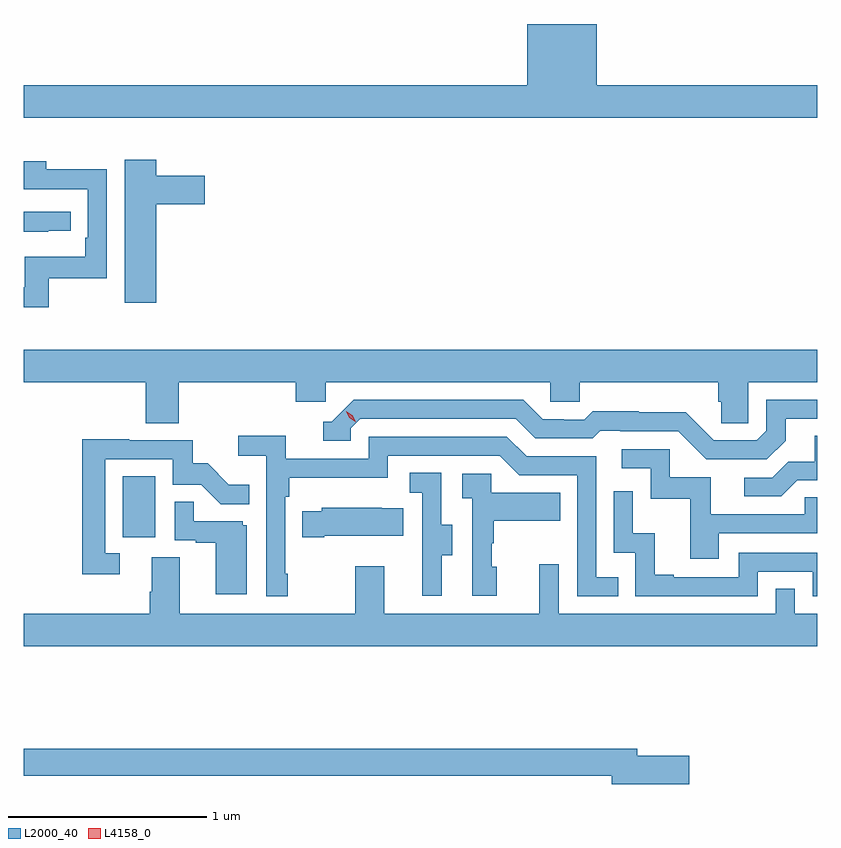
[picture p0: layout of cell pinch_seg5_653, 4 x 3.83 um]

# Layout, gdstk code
import gdstk
lib = gdstk.Library(unit=1e-6, precision=1e-09)
def R(c, l, rs):  # rectangles x0, y0, x1, y1
    for r in rs: c.add(gdstk.rectangle(r[:2], r[2:], *l))
def P(c, l, *ps):  # polygons
    for p in ps: c.add(gdstk.Polygon(p, *l))
L2000_40 = (2000, 40)
L4158_0 = (4158, 0)

pinch_seg5_653 = lib.new_cell('pinch_seg5_653')
R(pinch_seg5_653, L2000_40, [(1066.64,846.654,1066.804,846.961)])
P(pinch_seg5_653, L2000_40, [(1070.141,848.932),(1069.03,848.932),(1069.03,849.241),(1068.68,849.241),(1068.68,848.932),(1066.141,848.932),(1066.141,848.768),(1070.141,848.768)],
  [(1066.81,848.333),(1067.053,848.333),(1067.053,848.475),(1066.81,848.475),(1066.81,848.557),(1066.649,848.557),(1066.649,847.836),(1066.81,847.836)],
  [(1066.267,847.959),(1066.56,847.959),(1066.56,848.51),(1066.255,848.51),(1066.255,848.548),(1066.141,848.548),(1066.141,848.408),(1066.151,848.408),(1066.151,848.409),(1066.464,848.409),(1066.464,848.164),(1066.451,848.164),(1066.451,848.068),(1066.146,848.068),(1066.146,847.913),(1066.141,847.913),(1066.141,847.812),(1066.267,847.812)],
  [(1066.265,848.199),(1066.378,848.199),(1066.378,848.295),(1066.141,848.295),(1066.141,848.194),(1066.265,848.194)],
  [(1066.922,847.436),(1067.513,847.436),(1067.513,847.338),(1067.664,847.338),(1067.664,847.436),(1068.795,847.436),(1068.795,847.338),(1068.945,847.338),(1068.945,847.436),(1069.643,847.436),(1069.643,847.338),(1069.657,847.338),(1069.657,847.228),(1069.794,847.228),(1069.794,847.436),(1070.141,847.436),(1070.141,847.6),(1066.141,847.6),(1066.141,847.436),(1066.757,847.436),(1066.757,847.228),(1066.922,847.228)],
  [(1069.981,847.141),(1069.981,847.251),(1070.141,847.251),(1070.141,847.347),(1069.884,847.347),(1069.884,847.191),(1069.836,847.143),(1069.62,847.143),(1069.478,847.285),(1069.242,847.285),(1069.242,847.288),(1069.009,847.288),(1068.967,847.245),(1068.864,847.245),(1068.864,847.248),(1068.757,847.248),(1068.658,847.347),(1067.805,847.347),(1067.694,847.236),(1067.651,847.236),(1067.651,847.14),(1067.79,847.14),(1067.79,847.203),(1067.838,847.251),(1068.621,847.251),(1068.72,847.152),(1069.009,847.152),(1069.048,847.191),(1069.147,847.191),(1069.147,847.188),(1069.44,847.188),(1069.581,847.047),(1069.887,847.047)],
  [(1070.041,846.942),(1070.141,846.942),(1070.141,847.166),(1070.129,847.166),(1070.129,847.034),(1069.994,847.034),(1069.914,846.954),(1069.773,846.954),(1069.773,846.861),(1069.96,846.861)],
  [(1067.473,846.469),(1067.46,846.469),(1067.46,846.857),(1067.48,846.857),(1067.48,846.953),(1067.976,846.953),(1067.976,847.065),(1068.54,847.065),(1068.639,846.966),(1068.93,846.966),(1068.93,846.357),(1069.139,846.357),(1069.139,846.453),(1069.026,846.453),(1069.026,847.062),(1068.676,847.062),(1068.577,847.161),(1067.88,847.161),(1067.88,847.05),(1067.462,847.05),(1067.462,847.166),(1067.223,847.166),(1067.223,847.064),(1067.364,847.064),(1067.364,846.357),(1067.473,846.357)],
  [(1066.624,846.573),(1066.551,846.573),(1066.551,847.047),(1066.893,847.047),(1066.893,846.918),(1067.037,846.918),(1067.135,846.82),(1067.279,846.82),(1067.279,846.919),(1067.175,846.919),(1067.068,847.026),(1066.992,847.026),(1066.992,847.143),(1066.673,847.143),(1066.673,847.148),(1066.435,847.148),(1066.435,846.468),(1066.624,846.468)],
  [(1069.645,846.675),(1070.141,846.675),(1070.141,846.855),(1070.077,846.855),(1070.077,846.771),(1069.603,846.771),(1069.603,846.957),(1069.398,846.957),(1069.398,847.098),(1069.155,847.098),(1069.155,847.002),(1069.302,847.002),(1069.302,846.849),(1069.501,846.849),(1069.501,846.546),(1069.645,846.546)],
  [(1068.247,846.562),(1068.301,846.562),(1068.301,846.717),(1068.246,846.717),(1068.246,846.98),(1068.087,846.98),(1068.087,846.877),(1068.15,846.877),(1068.15,846.573),(1068.149,846.573),(1068.149,846.36),(1068.247,846.36)],
  [(1068.526,846.504),(1068.501,846.504),(1068.501,846.623),(1068.511,846.623),(1068.511,846.737),(1068.845,846.737),(1068.845,846.877),(1068.498,846.877),(1068.498,846.975),(1068.351,846.975),(1068.351,846.851),(1068.402,846.851),(1068.402,846.36),(1068.526,846.36)],
  [(1069.842,846.48),(1070.118,846.48),(1070.118,846.357),(1070.141,846.357),(1070.141,846.576),(1069.746,846.576),(1069.746,846.453),(1069.417,846.453),(1069.417,846.466),(1069.322,846.466),(1069.322,846.674),(1069.212,846.674),(1069.212,846.886),(1069.116,846.886),(1069.116,846.576),(1069.224,846.576),(1069.224,846.357),(1069.842,846.357)],
  [(1067.266,846.714),(1067.244,846.714),(1067.244,846.735),(1066.997,846.735),(1066.997,846.833),(1066.902,846.833),(1066.902,846.639),(1067.009,846.639),(1067.009,846.627),(1067.108,846.627),(1067.108,846.366),(1067.266,846.366)],
  [(1067.656,846.662),(1068.053,846.662),(1068.053,846.799),(1067.945,846.799),(1067.945,846.802),(1067.643,846.802),(1067.643,846.784),(1067.545,846.784),(1067.545,846.655),(1067.656,846.655)],
  [(1066.787,846.554),(1066.787,846.38),(1066.775,846.38),(1066.775,846.268),(1066.141,846.268),(1066.141,846.104),(1070.141,846.104),(1070.141,846.268),(1070.028,846.268),(1070.028,846.395),(1069.932,846.395),(1069.932,846.268),(1068.837,846.268),(1068.837,846.517),(1068.74,846.517),(1068.74,846.268),(1067.959,846.268),(1067.959,846.508),(1067.812,846.508),(1067.812,846.268),(1066.927,846.268),(1066.927,846.554)],
  [(1069.495,845.552),(1069.234,845.552),(1069.234,845.588),(1066.141,845.588),(1066.141,845.452),(1069.106,845.452),(1069.106,845.41),(1069.495,845.41)])
P(pinch_seg5_653, L4158_0, [(1067.813,847.237),(1067.783,847.256),(1067.766,847.288),(1067.766,847.289),(1067.767,847.289),(1067.797,847.269),(1067.814,847.237),(1067.814,847.237)])

lib.write_gds('pinch_seg5_653.gds')
